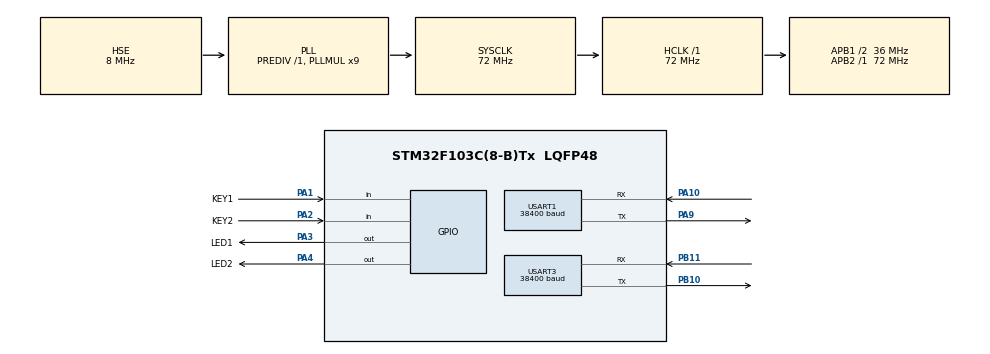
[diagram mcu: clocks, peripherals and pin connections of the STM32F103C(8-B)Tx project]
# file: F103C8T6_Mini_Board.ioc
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Dma.Request0=USART1_RX
Dma.Request1=USART3_RX
Dma.USART1_RX.0.Direction=DMA_PERIPH_TO_MEMORY
Dma.USART1_RX.0.Instance=DMA1_Channel5
Dma.USART1_RX.0.MemDataAlignment=DMA_MDATAALIGN_BYTE
Dma.USART1_RX.0.MemInc=DMA_MINC_ENABLE
Dma.USART1_RX.0.Mode=DMA_NORMAL
Dma.USART1_RX.0.PeriphDataAlignment=DMA_PDATAALIGN_BYTE
Dma.USART1_RX.0.PeriphInc=DMA_PINC_DISABLE
Dma.USART1_RX.0.Priority=DMA_PRIORITY_LOW
Dma.USART3_RX.1.Direction=DMA_PERIPH_TO_MEMORY
Dma.USART3_RX.1.Instance=DMA1_Channel3
Dma.USART3_RX.1.MemDataAlignment=DMA_MDATAALIGN_BYTE
Dma.USART3_RX.1.MemInc=DMA_MINC_ENABLE
Dma.USART3_RX.1.Mode=DMA_NORMAL
Dma.USART3_RX.1.PeriphDataAlignment=DMA_PDATAALIGN_BYTE
Dma.USART3_RX.1.PeriphInc=DMA_PINC_DISABLE
Dma.USART3_RX.1.Priority=DMA_PRIORITY_MEDIUM
Mcu.Family=STM32F1
Mcu.Name=STM32F103C(8-B)Tx
Mcu.Package=LQFP48
NVIC.DMA1_Channel3_IRQn=true\:2\:0\:true\:false\:true\:false\:true
NVIC.DMA1_Channel5_IRQn=true\:2\:0\:true\:false\:true\:false\:true
NVIC.PriorityGroup=NVIC_PRIORITYGROUP_4
NVIC.USART1_IRQn=true\:1\:0\:true\:false\:true\:true\:true
NVIC.USART3_IRQn=true\:0\:0\:false\:false\:true\:true\:true
PA1.GPIO_Label=KEY1
PA1.GPIO_PuPd=GPIO_PULLUP
PA1.Signal=GPIO_Input
PA10.Mode=Asynchronous
PA10.Signal=USART1_RX
PA13.Mode=Serial_Wire
PA13.Signal=SYS_JTMS-SWDIO
PA14.Mode=Serial_Wire
PA14.Signal=SYS_JTCK-SWCLK
PA2.GPIO_Label=KEY2
PA2.GPIO_PuPd=GPIO_PULLUP
PA2.Signal=GPIO_Input
PA3.GPIO_Label=LED1
PA3.Signal=GPIO_Output
PA4.GPIO_Label=LED2
PA4.Signal=GPIO_Output
PA9.Mode=Asynchronous
PA9.Signal=USART1_TX
PB10.Mode=Asynchronous
PB10.Signal=USART3_TX
PB11.Mode=Asynchronous
PB11.Signal=USART3_RX
PC14-OSC32_IN.Mode=LSE-External-Oscillator
PC14-OSC32_IN.Signal=RCC_OSC32_IN
PC15-OSC32_OUT.Mode=LSE-External-Oscillator
PC15-OSC32_OUT.Signal=RCC_OSC32_OUT
PD0-OSC_IN.Mode=HSE-External-Oscillator
PD0-OSC_IN.Signal=RCC_OSC_IN
PD1-OSC_OUT.Mode=HSE-External-Oscillator
PD1-OSC_OUT.Signal=RCC_OSC_OUT
ProjectManager.HeapSize=0x200
ProjectManager.StackSize=0x400
ProjectManager.TargetToolchain=EWARM V8
RCC.AHBFreq_Value=72000000
RCC.APB1CLKDivider=RCC_HCLK_DIV2
RCC.APB1Freq_Value=36000000
RCC.APB1TimFreq_Value=72000000
RCC.APB2Freq_Value=72000000
RCC.APB2TimFreq_Value=72000000
RCC.HCLKFreq_Value=72000000
RCC.PLLMUL=RCC_PLL_MUL9
RCC.PLLSourceVirtual=RCC_PLLSOURCE_HSE
RCC.SYSCLKFreq_VALUE=72000000
RCC.SYSCLKSource=RCC_SYSCLKSOURCE_PLLCLK
RCC.USBFreq_Value=72000000
USART1.BaudRate=38400
USART1.VirtualMode=VM_ASYNC
USART3.BaudRate=38400
USART3.VirtualMode=VM_ASYNC
board=custom

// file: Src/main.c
/* USER CODE BEGIN Header */
/**
  ******************************************************************************
  * @file           : main.c
  * @brief          : Main program body
  ******************************************************************************
  * @attention
  *
  * <h2><center>&copy; Copyright (c) 2019 STMicroelectronics.
  * All rights reserved.</center></h2>
  *
  * This software component is licensed by ST under BSD 3-Clause license,
  * the "License"; You may not use this file except in compliance with the
  * License. You may obtain a copy of the License at:
  *                        opensource.org/licenses/BSD-3-Clause
  *
  ******************************************************************************
  */
/* USER CODE END Header */

#include "main.h"
#include "dma.h"
#include "usart.h"
#include "gpio.h"

void SystemClock_Config(void);

int main(void)
{

  /* MCU Configuration--------------------------------------------------------*/

  /* Reset of all peripherals, Initializes the Flash interface and the Systick. */
  HAL_Init();

  /* Configure the system clock */
  SystemClock_Config();

  /* Initialize all configured peripherals */
  MX_GPIO_Init();
  MX_DMA_Init();
  MX_USART3_UART_Init();
  MX_USART1_UART_Init();
  /* USER CODE BEGIN 2 */
  HAL_UART_Receive_DMA(&huart1, UART1_RX_BUF()->rx_data, sizeof(UART1_RX_BUF()->rx_data));
  __HAL_UART_ENABLE_IT(&huart1, UART_IT_IDLE);
  HAL_UART_Receive_DMA(&huart3, UART3_RX_BUF()->rx_data, sizeof(UART3_RX_BUF()->rx_data));
  __HAL_UART_ENABLE_IT(&huart3, UART_IT_IDLE);

  /* USER CODE END 2 */

  /* Infinite loop */
  /* USER CODE BEGIN WHILE */
  while (1)
  {
      Uart3_Rx_Process(UART3_RX_BUF());

      Uart1_Rx_Process(UART1_RX_BUF());

      LED_Reverse_Uart_test();

    /* USER CODE END WHILE */

  }
}

void SystemClock_Config(void)
{
  RCC_OscInitTypeDef RCC_OscInitStruct = {0};
  RCC_ClkInitTypeDef RCC_ClkInitStruct = {0};

  /** Initializes the CPU, AHB and APB busses clocks
  */
  RCC_OscInitStruct.OscillatorType = RCC_OSCILLATORTYPE_HSE;
  RCC_OscInitStruct.HSEState = RCC_HSE_ON;
  RCC_OscInitStruct.HSEPredivValue = RCC_HSE_PREDIV_DIV1;
  RCC_OscInitStruct.HSIState = RCC_HSI_ON;
  RCC_OscInitStruct.PLL.PLLState = RCC_PLL_ON;
  RCC_OscInitStruct.PLL.PLLSource = RCC_PLLSOURCE_HSE;
  RCC_OscInitStruct.PLL.PLLMUL = RCC_PLL_MUL9;
  if (HAL_RCC_OscConfig(&RCC_OscInitStruct) != HAL_OK)
  {
    Error_Handler();
  }
  /** Initializes the CPU, AHB and APB busses clocks
  */
  RCC_ClkInitStruct.ClockType = RCC_CLOCKTYPE_HCLK|RCC_CLOCKTYPE_SYSCLK
                              |RCC_CLOCKTYPE_PCLK1|RCC_CLOCKTYPE_PCLK2;
  RCC_ClkInitStruct.SYSCLKSource = RCC_SYSCLKSOURCE_PLLCLK;
  RCC_ClkInitStruct.AHBCLKDivider = RCC_SYSCLK_DIV1;
  RCC_ClkInitStruct.APB1CLKDivider = RCC_HCLK_DIV2;
  RCC_ClkInitStruct.APB2CLKDivider = RCC_HCLK_DIV1;

  if (HAL_RCC_ClockConfig(&RCC_ClkInitStruct, FLASH_LATENCY_2) != HAL_OK)
  {
    Error_Handler();
  }
}

/* USER CODE BEGIN 4 */

void Tick_Process(void)
{
    static uint16_t uart3_cnt = 0;

    if (UART3_RX_BUF()->rx_len)
    {
        if (uart3_cnt++ > 500)
        {
            uart3_cnt = 0;
            UART3_RX_BUF()->rx_cmp = false;
            memset(UART3_RX_BUF()->rx_data, 0, sizeof(UART3_RX_BUF()->rx_data));
            UART3_RX_BUF()->rx_len = 0;
        }
    }
    else
        uart3_cnt = 0;
}
/* USER CODE END 4 */

void Error_Handler(void)
{
}

/************************ (C) COPYRIGHT STMicroelectronics *****END OF FILE****/
